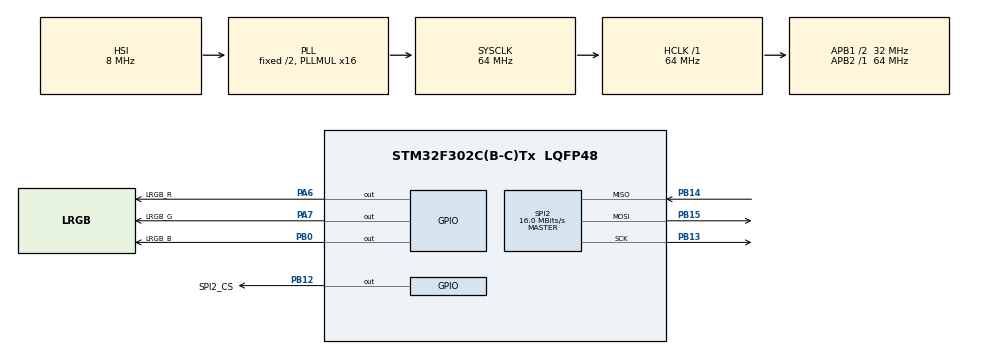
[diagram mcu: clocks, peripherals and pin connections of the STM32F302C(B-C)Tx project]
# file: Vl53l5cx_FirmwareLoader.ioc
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Mcu.Family=STM32F3
Mcu.Name=STM32F302C(B-C)Tx
Mcu.Package=LQFP48
NVIC.PriorityGroup=NVIC_PRIORITYGROUP_4
PA13.Mode=Serial_Wire
PA13.Signal=SYS_JTMS-SWDIO
PA14.Mode=Serial_Wire
PA14.Signal=SYS_JTCK-SWCLK
PA6.GPIO_Label=LRGB_R
PA6.Signal=GPIO_Output
PA7.GPIO_Label=LRGB_G
PA7.Signal=GPIO_Output
PB0.GPIO_Label=LRGB_B
PB0.Signal=GPIO_Output
PB12.GPIO_Label=SPI2_CS
PB12.Signal=GPIO_Output
PB13.Mode=Full_Duplex_Master
PB13.Signal=SPI2_SCK
PB14.Mode=Full_Duplex_Master
PB14.Signal=SPI2_MISO
PB15.Mode=Full_Duplex_Master
PB15.Signal=SPI2_MOSI
ProjectManager.HeapSize=0x200
ProjectManager.StackSize=0x400
ProjectManager.TargetToolchain=MDK-ARM V5.32
RCC.AHBFreq_Value=64000000
RCC.APB1CLKDivider=RCC_HCLK_DIV2
RCC.APB1Freq_Value=32000000
RCC.APB1TimFreq_Value=64000000
RCC.APB2Freq_Value=64000000
RCC.APB2TimFreq_Value=64000000
RCC.CortexFreq_Value=64000000
RCC.HCLKFreq_Value=64000000
RCC.HSE_VALUE=8000000
RCC.HSI_VALUE=8000000
RCC.LSE_VALUE=32768
RCC.PLLMUL=RCC_PLL_MUL16
RCC.SYSCLKFreq_VALUE=64000000
RCC.SYSCLKSourceVirtual=RCC_SYSCLKSOURCE_PLLCLK
RCC.USBFreq_Value=64000000
SPI2.CalculateBaudRate=16.0 MBits/s
SPI2.Direction=SPI_DIRECTION_2LINES
SPI2.Mode=SPI_MODE_MASTER
SPI2.VirtualType=VM_MASTER
board=custom

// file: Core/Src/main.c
/* USER CODE BEGIN Header */
/**
  ******************************************************************************
  * @file           : main.c
  * @brief          : Main program body
  ******************************************************************************
  * @attention
  *
  * Copyright (c) 2022 STMicroelectronics.
  * All rights reserved.
  *
  * This software is licensed under terms that can be found in the LICENSE file
  * in the root directory of this software component.
  * If no LICENSE file comes with this software, it is provided AS-IS.
  *
  ******************************************************************************
  */
/* USER CODE END Header */
#include "main.h"
#include "spi.h"
#include "gpio.h"

/* USER CODE BEGIN Includes */
#include "swl_FlashLoader.h"
#include "swl_HardwareControl.h"
#include "string.h"
/* USER CODE END Includes */

void SystemClock_Config(void);

int main(void)
{

  /* MCU Configuration--------------------------------------------------------*/

  /* Reset of all peripherals, Initializes the Flash interface and the Systick. */
  HAL_Init();

  /* Configure the system clock */
  SystemClock_Config();

  /* Initialize all configured peripherals */
  MX_GPIO_Init();
  MX_SPI2_Init();
  /* USER CODE BEGIN 2 */

  swl_LedControl(White);
  swl_ExtFlashSpiInit();

	if(swl_CheckFlash() == IncorrectFirmware)
	{
		if(swl_EraseFlash() == EraseSuccess)
		{
			if(swl_LoadFirmwareToFlash() == ProgrammingSuccess)
			{
				swl_LedControl(Green);
			}
			else if(swl_LoadFirmwareToFlash() == ProgrammingError)
			{
				swl_LedControl(Red);
			}
		}
		else if(swl_EraseFlash() == EraseError)
		{
			swl_LedControl(Red);
		}
	}
	else if(swl_CheckFlash() == CorrectFirmware)
	{
		swl_LedControl(Yellow);
	}
  /* USER CODE END 2 */

  /* Infinite loop */
  while (1)
  {

  }
}

void SystemClock_Config(void)
{
  RCC_OscInitTypeDef RCC_OscInitStruct = {0};
  RCC_ClkInitTypeDef RCC_ClkInitStruct = {0};

  /** Initializes the RCC Oscillators according to the specified parameters
  * in the RCC_OscInitTypeDef structure.
  */
  RCC_OscInitStruct.OscillatorType = RCC_OSCILLATORTYPE_HSI;
  RCC_OscInitStruct.HSIState = RCC_HSI_ON;
  RCC_OscInitStruct.HSICalibrationValue = RCC_HSICALIBRATION_DEFAULT;
  RCC_OscInitStruct.PLL.PLLState = RCC_PLL_ON;
  RCC_OscInitStruct.PLL.PLLSource = RCC_PLLSOURCE_HSI;
  RCC_OscInitStruct.PLL.PLLMUL = RCC_PLL_MUL16;
  if (HAL_RCC_OscConfig(&RCC_OscInitStruct) != HAL_OK)
  {
    Error_Handler();
  }
  /** Initializes the CPU, AHB and APB buses clocks
  */
  RCC_ClkInitStruct.ClockType = RCC_CLOCKTYPE_HCLK|RCC_CLOCKTYPE_SYSCLK
                              |RCC_CLOCKTYPE_PCLK1|RCC_CLOCKTYPE_PCLK2;
  RCC_ClkInitStruct.SYSCLKSource = RCC_SYSCLKSOURCE_PLLCLK;
  RCC_ClkInitStruct.AHBCLKDivider = RCC_SYSCLK_DIV1;
  RCC_ClkInitStruct.APB1CLKDivider = RCC_HCLK_DIV2;
  RCC_ClkInitStruct.APB2CLKDivider = RCC_HCLK_DIV1;

  if (HAL_RCC_ClockConfig(&RCC_ClkInitStruct, FLASH_LATENCY_2) != HAL_OK)
  {
    Error_Handler();
  }
}

void Error_Handler(void)
{
  __disable_irq();
  while (1)
  {
  }
}
